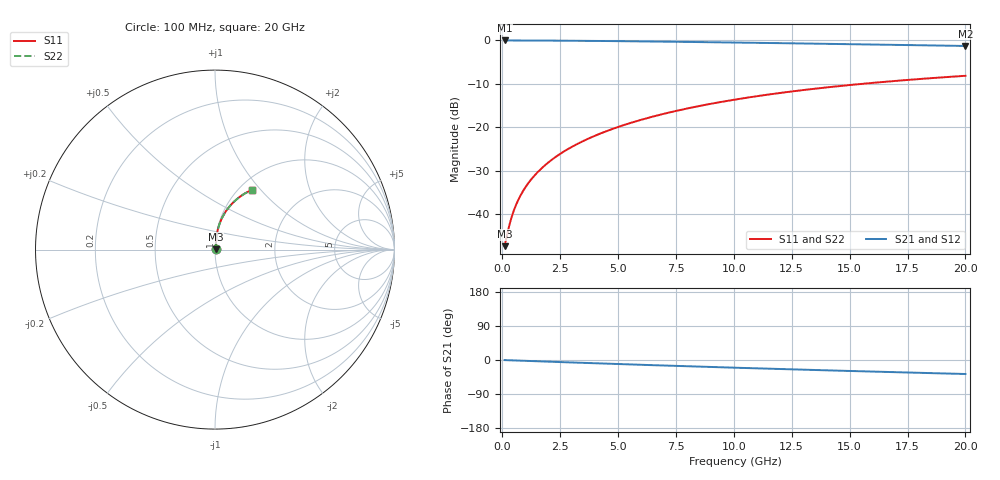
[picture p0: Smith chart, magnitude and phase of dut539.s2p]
! Touchstone file exported from HFSS 2024.1.0
!  File:  C:/UserFiles/LocalFiles/RDL_TSV_Batchsim/temp_RDL_bottom_539_1779688845.aedt
!  Generated:  02:03:21 PM May 25, 2026
!  Design:  RDL_bottom
!  Project:  temp_RDL_bottom_539_1779688845
!  Setup:  Setup1
!  Solution:  Sweep
! Variables:
!  dtsv = 10.80580581um
!  hbump = 3um
!  htsv = 53.39um
!  ldown = 470.4um
!  lrdl = 100um
!  p = 40
!  p1 = 54.81um
!  rhole = 1um
!  t = 450um
!  tdown = 2.37um
!  trdl = 3.915915916um
!  wdown = 20.43um
!  wrdl = 20um
# GHz S MA R 50.000000
! Terminal data exported
! Port[1] = RDL1_T1
! Port[2] = RDL1_T2
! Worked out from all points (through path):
!   200 points, 100 MHz to 20 GHz, reference 50 ohm
!   highest |S21| = -0.03 dB at 100 MHz (marker M1); lowest = -1.3 dB at 20 GHz (marker M2)
!   group delay of S21, straight-line fit = 5.1 ps
!   lowest |S11| = -47.4 dB at 100 MHz (marker M3), VSWR 1.01, Z = 50.4 + j0.211 ohm
!   |S11| at or under -10 dB: start of sweep to 15.58 GHz
!   |S22| runs from -47.4 to -8.2 dB; largest |S21 - S12| = 3.1e-15
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0.1  0.00427 29.4  0.9963 -0.2  0.9963 -0.2  0.00427 29.4
! Gamma 0 0 0 0
! Port Impedance 50 0 50 0
0.3  0.007344 57.8  0.996 -0.7  0.996 -0.7  0.007344 57.8
0.4  0.009158 63.8  0.9959 -0.9  0.9959 -0.9  0.009158 63.8
0.5  0.01101 67.7  0.9957 -1.1  0.9957 -1.1  0.01101 67.7
0.6  0.01287 70.5  0.9955 -1.3  0.9955 -1.3  0.01287 70.5
0.8  0.01661 74.2  0.9951 -1.8  0.9951 -1.8  0.01661 74.1
1.1  0.02224 77.5  0.9945 -2.4  0.9945 -2.4  0.02224 77.5
1.3  0.02603 78.9  0.9941 -2.9  0.9941 -2.9  0.02603 78.9
1.6  0.03177 80.4  0.9934 -3.5  0.9934 -3.5  0.03177 80.4
2.1  0.04146 82.0  0.9919 -4.6  0.9919 -4.6  0.04146 81.9
2.7  0.0533 82.8  0.9898 -5.9  0.9898 -5.9  0.0533 82.8
3.5  0.06942 83.2  0.9864 -7.6  0.9864 -7.6  0.06941 83.2
4.2  0.0838 83.0  0.9829 -9.0  0.9829 -9.0  0.0838 83.0
5  0.1005 82.5  0.9784 -10.7  0.9784 -10.7  0.1005 82.5
5.9  0.1196 81.6  0.9729 -12.5  0.9729 -12.5  0.1196 81.6
6.8  0.1388 80.5  0.9669 -14.2  0.9669 -14.2  0.1388 80.4
8.4  0.1731 78.1  0.9556 -17.3  0.9556 -17.3  0.173 78.0
10.1  0.2089 75.2  0.9428 -20.4  0.9428 -20.4  0.2089 75.2
11.7  0.2418 72.4  0.9302 -23.3  0.9302 -23.3  0.2418 72.4
13.4  0.2754 69.4  0.9164 -26.2  0.9164 -26.2  0.2754 69.4
16.7  0.3362 63.7  0.8888 -31.7  0.8888 -31.7  0.3361 63.7
20  0.3904 58.4  0.8607 -36.9  0.8607 -36.9  0.3903 58.3
